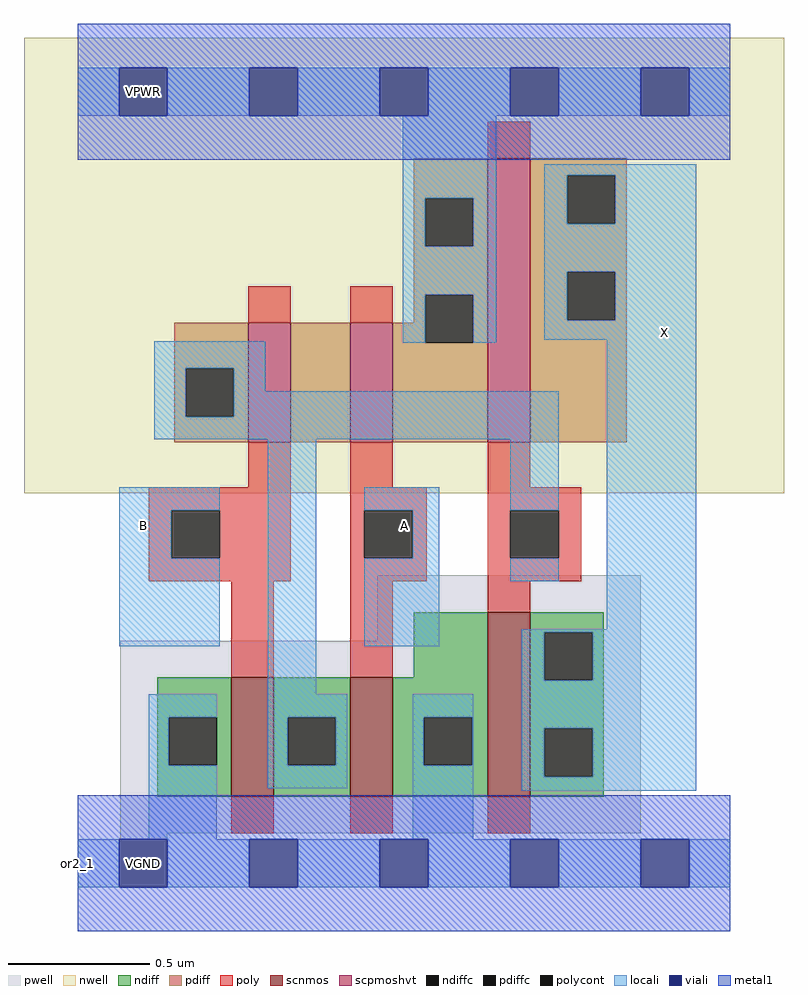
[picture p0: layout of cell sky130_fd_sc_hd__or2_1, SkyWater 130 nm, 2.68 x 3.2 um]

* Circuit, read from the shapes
.subckt sky130_fd_sc_hd__or2_1 VGND VPWR VPB VNB X A B
XM1 n1 B VGND VNB sky130_fd_pr__nfet_01v8 w=0.42 l=0.15
XM2 VGND A n1 VNB sky130_fd_pr__nfet_01v8 w=0.42 l=0.15
XM3 X n1 VGND VNB sky130_fd_pr__nfet_01v8 w=0.65 l=0.15
XM4 n2 B n1 VPB sky130_fd_pr__pfet_01v8_hvt w=0.42 l=0.15
XM5 VPWR A n2 VPB sky130_fd_pr__pfet_01v8_hvt w=0.42 l=0.15
XM6 X n1 VPWR VPB sky130_fd_pr__pfet_01v8_hvt w=1 l=0.15
.ends

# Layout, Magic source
magic
tech sky130B
magscale 1 2
<< nwell >>
rect -38 221 498 542
<< pwell >>
rect 211 117 397 163
rect 30 -19 397 117
rect 30 -23 63 -19
rect 29 -57 63 -23
<< scnmos >>
rect 108 7 138 91
rect 192 7 222 91
rect 289 7 319 137
<< scpmoshvt >>
rect 120 257 150 341
rect 192 257 222 341
rect 289 257 319 457
<< ndiff >>
rect 237 91 289 137
rect 56 63 108 91
rect 56 29 64 63
rect 98 29 108 63
rect 56 7 108 29
rect 138 63 192 91
rect 138 29 148 63
rect 182 29 192 63
rect 138 7 192 29
rect 222 63 289 91
rect 222 29 244 63
rect 278 29 289 63
rect 222 7 289 29
rect 319 123 371 137
rect 319 89 329 123
rect 363 89 371 123
rect 319 55 371 89
rect 319 21 329 55
rect 363 21 371 55
rect 319 7 371 21
<< pdiff >>
rect 237 429 289 457
rect 237 395 245 429
rect 279 395 289 429
rect 237 361 289 395
rect 237 341 245 361
rect 68 309 120 341
rect 68 275 76 309
rect 110 275 120 309
rect 68 257 120 275
rect 150 257 192 341
rect 222 327 245 341
rect 279 327 289 361
rect 222 257 289 327
rect 319 445 387 457
rect 319 411 345 445
rect 379 411 387 445
rect 319 377 387 411
rect 319 343 345 377
rect 379 343 387 377
rect 319 257 387 343
<< ndiffc >>
rect 64 29 98 63
rect 148 29 182 63
rect 244 29 278 63
rect 329 89 363 123
rect 329 21 363 55
<< pdiffc >>
rect 245 395 279 429
rect 76 275 110 309
rect 245 327 279 361
rect 345 411 379 445
rect 345 343 379 377
<< poly >>
rect 289 457 319 483
rect 120 341 150 367
rect 192 341 222 367
rect 120 225 150 257
rect 50 209 150 225
rect 50 175 66 209
rect 100 175 150 209
rect 50 159 150 175
rect 192 225 222 257
rect 289 225 319 257
rect 192 209 246 225
rect 192 175 202 209
rect 236 175 246 209
rect 192 159 246 175
rect 289 209 355 225
rect 289 175 305 209
rect 339 175 355 209
rect 289 159 355 175
rect 108 91 138 159
rect 192 91 222 159
rect 289 137 319 159
rect 108 -19 138 7
rect 192 -19 222 7
rect 289 -19 319 7
<< polycont >>
rect 66 175 100 209
rect 202 175 236 209
rect 305 175 339 209
<< locali >>
rect 0 487 29 521
rect 63 487 121 521
rect 155 487 213 521
rect 247 487 305 521
rect 339 487 397 521
rect 431 487 460 521
rect 229 429 295 487
rect 229 395 245 429
rect 279 395 295 429
rect 229 361 295 395
rect 54 309 132 328
rect 229 327 245 361
rect 279 327 295 361
rect 329 445 436 453
rect 329 411 345 445
rect 379 411 436 445
rect 329 377 436 411
rect 329 343 345 377
rect 379 343 436 377
rect 329 329 436 343
rect 54 275 76 309
rect 110 293 132 309
rect 110 275 339 293
rect 54 259 339 275
rect 29 209 100 225
rect 29 175 66 209
rect 29 113 100 175
rect 134 79 168 259
rect 202 209 255 225
rect 236 175 255 209
rect 202 113 255 175
rect 305 209 339 259
rect 305 159 339 175
rect 373 125 436 329
rect 313 123 436 125
rect 313 89 329 123
rect 363 89 436 123
rect 50 63 98 79
rect 50 29 64 63
rect 50 -23 98 29
rect 134 63 190 79
rect 134 29 148 63
rect 182 29 190 63
rect 134 13 190 29
rect 236 63 279 79
rect 236 29 244 63
rect 278 29 279 63
rect 236 -23 279 29
rect 313 55 436 89
rect 313 21 329 55
rect 363 21 436 55
rect 313 11 436 21
rect 0 -57 29 -23
rect 63 -57 121 -23
rect 155 -57 213 -23
rect 247 -57 305 -23
rect 339 -57 397 -23
rect 431 -57 460 -23
<< viali >>
rect 29 487 63 521
rect 121 487 155 521
rect 213 487 247 521
rect 305 487 339 521
rect 397 487 431 521
rect 29 -57 63 -23
rect 121 -57 155 -23
rect 213 -57 247 -23
rect 305 -57 339 -23
rect 397 -57 431 -23
<< metal1 >>
rect 0 521 460 552
rect 0 487 29 521
rect 63 487 121 521
rect 155 487 213 521
rect 247 487 305 521
rect 339 487 397 521
rect 431 487 460 521
rect 0 456 460 487
rect 0 -23 460 8
rect 0 -57 29 -23
rect 63 -57 121 -23
rect 155 -57 213 -23
rect 247 -57 305 -23
rect 339 -57 397 -23
rect 431 -57 460 -23
rect 0 -88 460 -57
<< labels >>
rlabel comment s 0 -40 0 -40 4 or2_1
flabel metal1 s 29 -57 63 -23 0 FreeSans 200 0 0 0 VGND
port 2 nsew
flabel metal1 s 29 487 63 521 0 FreeSans 200 0 0 0 VPWR
port 3 nsew
flabel nwell s 29 487 63 521 0 FreeSans 200 0 0 0 VPB
port 5 nsew
flabel pwell s 29 -57 63 -23 0 FreeSans 200 0 0 0 VNB
port 6 nsew
flabel locali s 213 181 247 215 0 FreeSans 200 0 0 0 A
port 8 nsew
flabel locali s 397 317 431 351 0 FreeSans 200 0 0 0 X
port 7 nsew
flabel locali s 29 181 63 215 0 FreeSans 200 0 0 0 B
port 9 nsew
<< properties >>
string FIXED_BBOX 0 -40 460 504
string path 0.000 -1.000 11.500 -1.000 
<< end >>
